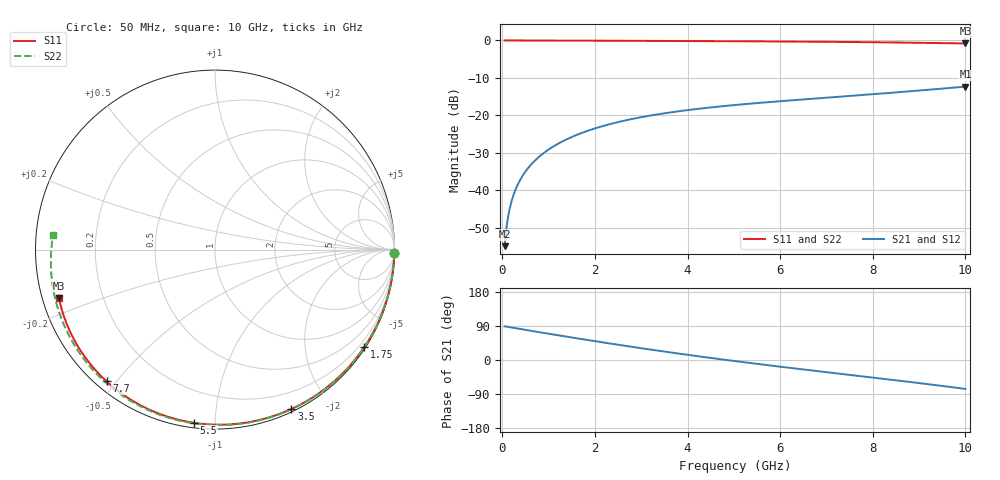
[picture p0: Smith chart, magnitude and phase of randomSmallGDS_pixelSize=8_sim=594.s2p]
! freq	dB(S11)	phase(S11)	dB(S12)	phase(S12)
!  dB(S21)	phase(S21)	dB(S22)	phase(S22)
!S-par simulation data
#  GHz  S  DB  R 50
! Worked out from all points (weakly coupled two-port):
!   200 points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, 50 MHz to 10 GHz, reference 50 ohm
!   highest |S21| = -12.34 dB at 10 GHz (marker M1); lowest = -55.0 dB at 50 MHz (marker M2)
!   lowest |S11| = -0.8 dB at 10 GHz (marker M3), VSWR 21.29, Z = 2.4 - j7.54 ohm
!   |S11| at or under -10 dB: nowhere
!   |S22| runs from -0.9 to 0.0 dB; largest |S21 - S12| = 0
!   S11 on the Smith chart (normalised r, x): 50 MHz: open; 1.75 GHz: 0.04, -3.35; 3.5 GHz: 0.03, -1.59; 5.5 GHz: 0.03, -0.89; 7.7 GHz: 0.03, -0.47; 10 GHz: 0.05, -0.15
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0.05  -0.01 -1.0  -54.98 88.9  -54.98 88.9  -0.01 -1.1
0.1  -0.01 -1.9  -48.96 87.9  -48.96 87.9  -0.01 -2.2
0.15  -0.01 -2.9  -45.44 86.8  -45.44 86.8  -0.01 -3.3
0.2  -0.01 -3.9  -42.95 85.8  -42.95 85.8  -0.01 -4.3
0.25  -0.01 -4.8  -41.02 84.7  -41.02 84.7  -0.01 -5.4
0.35  -0.01 -6.7  -38.11 82.6  -38.11 82.6  -0.01 -7.6
0.5  -0.01 -9.6  -35.04 79.5  -35.04 79.5  -0.02 -10.8
0.7  -0.02 -13.5  -32.16 75.3  -32.16 75.3  -0.02 -15.2
1  -0.03 -19.2  -29.15 69.3  -29.15 69.3  -0.03 -21.6
1.35  -0.04 -25.8  -26.66 62.3  -26.66 62.3  -0.05 -29.0
1.75  -0.06 -33.2  -24.56 54.5  -24.56 54.5  -0.06 -37.4
2.6  -0.09 -48.7  -21.53 38.4  -21.53 38.4  -0.10 -54.7
3.4  -0.13 -62.7  -19.66 24.0  -19.66 24.0  -0.14 -70.3
3.5  -0.13 -64.4  -19.47 22.2  -19.47 22.2  -0.14 -72.2
4.25  -0.17 -77.0  -18.25 9.5  -18.25 9.5  -0.18 -86.1
5.05  -0.22 -89.8  -17.23 -3.3  -17.23 -3.3  -0.23 -100.4
5.5  -0.24 -96.8  -16.74 -10.2  -16.74 -10.2  -0.26 -108.3
6.7  -0.34 -114.9  -15.58 -27.8  -15.58 -27.8  -0.36 -128.5
7.7  -0.44 -129.5  -14.66 -42.0  -14.66 -42.0  -0.47 -145.2
8.35  -0.52 -138.8  -14.04 -51.3  -14.04 -51.3  -0.56 -156.0
9.2  -0.66 -151.1  -13.19 -63.9  -13.19 -63.9  -0.70 -170.6
10  -0.82 -162.8  -12.34 -76.3  -12.34 -76.3  -0.86 175.0
